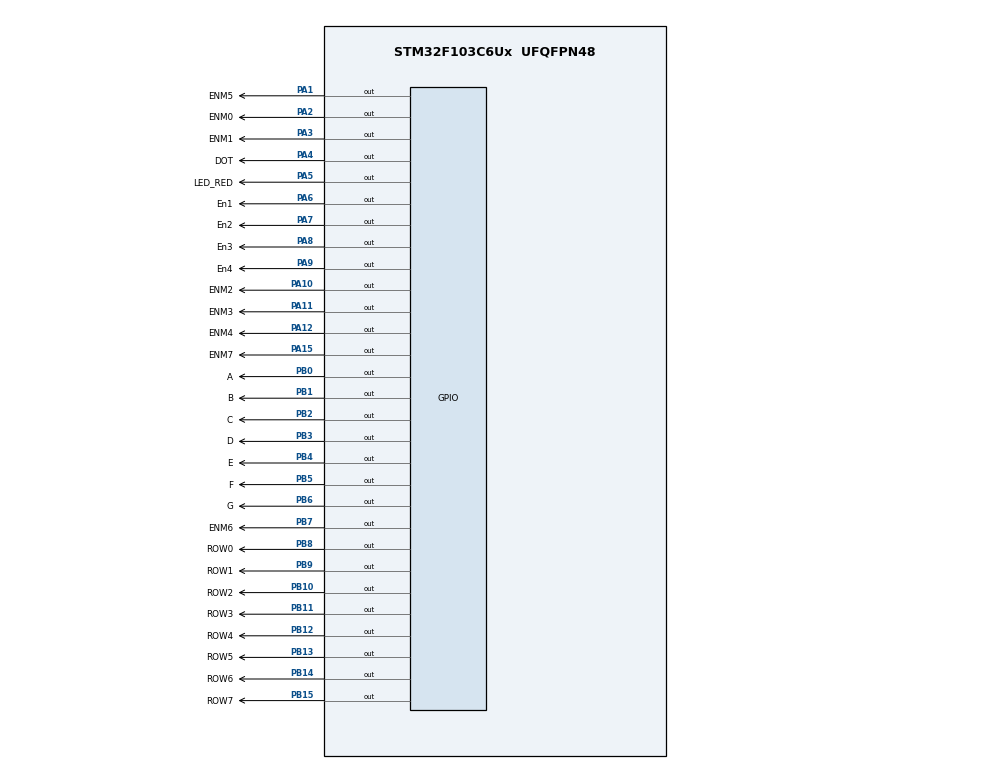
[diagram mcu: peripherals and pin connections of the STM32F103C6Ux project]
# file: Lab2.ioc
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Mcu.Family=STM32F1
Mcu.Name=STM32F103C6Ux
Mcu.Package=UFQFPN48
NVIC.PriorityGroup=NVIC_PRIORITYGROUP_4
NVIC.TIM2_IRQn=true\:0\:0\:false\:false\:true\:true\:true
PA1.GPIO_Label=ENM5
PA1.Signal=GPIO_Output
PA10.GPIO_Label=ENM2
PA10.Signal=GPIO_Output
PA11.GPIO_Label=ENM3
PA11.Signal=GPIO_Output
PA12.GPIO_Label=ENM4
PA12.Signal=GPIO_Output
PA13.Mode=Serial_Wire
PA13.Signal=SYS_JTMS-SWDIO
PA14.Mode=Serial_Wire
PA14.Signal=SYS_JTCK-SWCLK
PA15.GPIO_Label=ENM7
PA15.Signal=GPIO_Output
PA2.GPIO_Label=ENM0
PA2.Signal=GPIO_Output
PA3.GPIO_Label=ENM1
PA3.Signal=GPIO_Output
PA4.GPIO_Label=DOT
PA4.Signal=GPIO_Output
PA5.GPIO_Label=LED_RED
PA5.Signal=GPIO_Output
PA6.GPIO_Label=En1
PA6.Signal=GPIO_Output
PA7.GPIO_Label=En2
PA7.Signal=GPIO_Output
PA8.GPIO_Label=En3
PA8.Signal=GPIO_Output
PA9.GPIO_Label=En4
PA9.Signal=GPIO_Output
PB0.GPIO_Label=A
PB0.Signal=GPIO_Output
PB1.GPIO_Label=B
PB1.Signal=GPIO_Output
PB10.GPIO_Label=ROW2
PB10.Signal=GPIO_Output
PB11.GPIO_Label=ROW3
PB11.Signal=GPIO_Output
PB12.GPIO_Label=ROW4
PB12.Signal=GPIO_Output
PB13.GPIO_Label=ROW5
PB13.Signal=GPIO_Output
PB14.GPIO_Label=ROW6
PB14.Signal=GPIO_Output
PB15.GPIO_Label=ROW7
PB15.Signal=GPIO_Output
PB2.GPIO_Label=C
PB2.Signal=GPIO_Output
PB3.GPIO_Label=D
PB3.Signal=GPIO_Output
PB4.GPIO_Label=E
PB4.Signal=GPIO_Output
PB5.GPIO_Label=F
PB5.Signal=GPIO_Output
PB6.GPIO_Label=G
PB6.Signal=GPIO_Output
PB7.GPIO_Label=ENM6
PB7.Signal=GPIO_Output
PB8.GPIO_Label=ROW0
PB8.Signal=GPIO_Output
PB9.GPIO_Label=ROW1
PB9.Signal=GPIO_Output
ProjectManager.HeapSize=0x200
ProjectManager.StackSize=0x400
ProjectManager.TargetToolchain=STM32CubeIDE
RCC.APB1Freq_Value=8000000
RCC.APB2Freq_Value=8000000
TIM2.Period=9
TIM2.Prescaler=7999
VP_TIM2_VS_ClockSourceINT.Mode=Internal
board=custom

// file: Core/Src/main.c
/* USER CODE BEGIN Header */
/**
  ******************************************************************************
  * @file           : main.c
  * @brief          : Main program body
  ******************************************************************************
  * @attention
  *
  * <h2><center>&copy; Copyright (c) 2024 STMicroelectronics.
  * All rights reserved.</center></h2>
  *
  * This software component is licensed by ST under BSD 3-Clause license,
  * the "License"; You may not use this file except in compliance with the
  * License. You may obtain a copy of the License at:
  *                        opensource.org/licenses/BSD-3-Clause
  *
  ******************************************************************************
  */
/* USER CODE END Header */
#include "main.h"

/* USER CODE BEGIN Includes */
#include "SystemTimer.h"
/* USER CODE END Includes */

TIM_HandleTypeDef htim2;

void SystemClock_Config(void);
static void MX_TIM2_Init(void);
static void MX_GPIO_Init(void);

/* USER CODE BEGIN 0 */
void display7SEG(int num){
	HAL_GPIO_WritePin(GPIOB, A_Pin | B_Pin | C_Pin | D_Pin | E_Pin | F_Pin | G_Pin, GPIO_PIN_SET);

	switch (num) {
		case 0:
			HAL_GPIO_WritePin(GPIOB, A_Pin | B_Pin | C_Pin | D_Pin | E_Pin | F_Pin, GPIO_PIN_RESET);
			break;
		case 1:
			HAL_GPIO_WritePin(GPIOB, B_Pin | C_Pin, GPIO_PIN_RESET);
			break;
		case 2:
			HAL_GPIO_WritePin(GPIOB, A_Pin | B_Pin | D_Pin | E_Pin | G_Pin, GPIO_PIN_RESET);
			break;
		case 3:
			HAL_GPIO_WritePin(GPIOB, A_Pin | B_Pin | C_Pin | D_Pin | G_Pin, GPIO_PIN_RESET);
			break;
		case 4:
			HAL_GPIO_WritePin(GPIOB, B_Pin | C_Pin |F_Pin | G_Pin, GPIO_PIN_RESET);
			break;
		case 5:
			HAL_GPIO_WritePin(GPIOB, A_Pin | C_Pin | D_Pin | F_Pin | G_Pin, GPIO_PIN_RESET);
			break;
		case 6:
			HAL_GPIO_WritePin(GPIOB, A_Pin | C_Pin | D_Pin | E_Pin | F_Pin | G_Pin, GPIO_PIN_RESET);
			break;
		case 7:
			HAL_GPIO_WritePin(GPIOB, A_Pin | B_Pin | C_Pin, GPIO_PIN_RESET);
			break;
		case 8:
			HAL_GPIO_WritePin(GPIOB, A_Pin | B_Pin | C_Pin | D_Pin | E_Pin | F_Pin | G_Pin, GPIO_PIN_RESET);
			break;
		default:
			HAL_GPIO_WritePin(GPIOB, A_Pin | B_Pin | C_Pin | D_Pin | F_Pin | G_Pin, GPIO_PIN_RESET);
			break;
	}
}
const int MAX_LED = 4;
int index_led = 0;
int led_buffer[4] = {1, 5, 0, 8};
int hour = 15, minute = 8, second = 50;
void update7SEG(int index){
	HAL_GPIO_WritePin(GPIOA, En1_Pin | En2_Pin | En3_Pin | En4_Pin, 1);
	switch (index) {
		case 0:
			HAL_GPIO_WritePin(GPIOA, En1_Pin, 0);
			display7SEG(led_buffer[index]);
			break;
		case 1:
			HAL_GPIO_WritePin(GPIOA, En2_Pin, 0);
			display7SEG(led_buffer[index]);
			break;
		case 2:
			HAL_GPIO_WritePin(GPIOA, En3_Pin, 0);
			display7SEG(led_buffer[index]);
			break;
		case 3:
			HAL_GPIO_WritePin(GPIOA, En4_Pin, 0);
			display7SEG(led_buffer[index]);
			break;
		default:
			break;
	}
	if (index_led >= MAX_LED) index_led = 0;
}

void updateClockBuffer(){
	if (hour >= 10){
		led_buffer[0] = hour/10;
	} else {
		led_buffer[0] = 0;
	}
	led_buffer[1] = hour%10;
	if (minute >= 10){
		led_buffer[2] = minute/10;
	} else {
		led_buffer[2] = 0;
	}
	led_buffer[3] = minute%10;
}

const int MAX_LED_MATRIX = 8;
int index_led_matrix = 0;
uint8_t matrix_buffer[8] = {0x18, 0x3c, 0x66, 0x66, 0x7e, 0x7e, 0x66, 0x66};
void updateLEDMatrix (int index){
	HAL_GPIO_WritePin(GPIOB, ENM6_Pin, 1);
	HAL_GPIO_WritePin(GPIOA, ENM0_Pin | ENM1_Pin | ENM2_Pin | ENM3_Pin |
			 	 	 	 	 ENM4_Pin | ENM5_Pin | ENM7_Pin, 1);
	HAL_GPIO_WritePin(GPIOB, ROW0_Pin | ROW1_Pin | ROW2_Pin | ROW3_Pin |
					ROW4_Pin | ROW5_Pin | ROW6_Pin | ROW7_Pin, 1);
	switch (index) {
		case 0:
			HAL_GPIO_WritePin(GPIOA, ENM0_Pin, 0);
			break;
		case 1:
			HAL_GPIO_WritePin(GPIOA, ENM1_Pin, 0);
			break;
		case 2:
			HAL_GPIO_WritePin(GPIOA, ENM2_Pin, 0);
			break;
		case 3:
			HAL_GPIO_WritePin(GPIOA, ENM3_Pin, 0);
			break;
		case 4:
			HAL_GPIO_WritePin(GPIOA, ENM4_Pin, 0);
			break;
		case 5:
			HAL_GPIO_WritePin(GPIOA, ENM5_Pin, 0);
			break;
		case 6:
			HAL_GPIO_WritePin(GPIOB, ENM6_Pin, 0);
			break;
		case 7:
			HAL_GPIO_WritePin(GPIOA, ENM7_Pin, 0);
			break;
		default:
			break;
	}
	HAL_GPIO_WritePin(GPIOB, ROW0_Pin, (matrix_buffer[0] & (1 << (7-index))) ? 0 : 1);
	HAL_GPIO_WritePin(GPIOB, ROW1_Pin, (matrix_buffer[1] & (1 << (7-index))) ? 0 : 1);
	HAL_GPIO_WritePin(GPIOB, ROW2_Pin, (matrix_buffer[2] & (1 << (7-index))) ? 0 : 1);
	HAL_GPIO_WritePin(GPIOB, ROW3_Pin, (matrix_buffer[3] & (1 << (7-index))) ? 0 : 1);
	HAL_GPIO_WritePin(GPIOB, ROW4_Pin, (matrix_buffer[4] & (1 << (7-index))) ? 0 : 1);
	HAL_GPIO_WritePin(GPIOB, ROW5_Pin, (matrix_buffer[5] & (1 << (7-index))) ? 0 : 1);
	HAL_GPIO_WritePin(GPIOB, ROW6_Pin, (matrix_buffer[6] & (1 << (7-index))) ? 0 : 1);
	HAL_GPIO_WritePin(GPIOB, ROW7_Pin, (matrix_buffer[7] & (1 << (7-index))) ? 0 : 1);
	if (index_led_matrix >= MAX_LED_MATRIX) index_led_matrix = 0;
}
/* USER CODE END 0 */

int main(void)
{

  /* MCU Configuration--------------------------------------------------------*/

  /* Reset of all peripherals, Initializes the Flash interface and the Systick. */
  HAL_Init();

  /* Configure the system clock */
  SystemClock_Config();

  /* Initialize all configured peripherals */
  MX_TIM2_Init();
  MX_GPIO_Init();
  /* USER CODE BEGIN 2 */
HAL_TIM_Base_Start_IT(&htim2);
  /* USER CODE END 2 */

  /* Infinite loop */
  /* USER CODE BEGIN WHILE */
initTimer();
setTimer(1, 77);
setTimer(2, 55);
setTimer(3, 66);
  while (1)
  {
	  if (isTimerFlagOn(1) == 1){
		  setTimer(1, 100);
		  HAL_GPIO_TogglePin(GPIOA, DOT_Pin);
	  }
	  if (isTimerFlagOn(2) == 1){
		  setTimer(2, 25);
		  second++;
		  if (second >= 60){
			  second = 0;
			  minute++;
		  }
		  if (minute >= 60){
			  minute = 0;
			  hour++;
		  }
		  if (hour >= 24){
			  hour = 0;
		  }
		  updateClockBuffer();
		  update7SEG(index_led++);
	  }
	  if (isTimerFlagOn(3) == 1){
		  setTimer(3, 1);
		  updateLEDMatrix(index_led_matrix++);
	  }

    /* USER CODE END WHILE */

  }
}

void SystemClock_Config(void)
{
  RCC_OscInitTypeDef RCC_OscInitStruct = {0};
  RCC_ClkInitTypeDef RCC_ClkInitStruct = {0};

  /** Initializes the RCC Oscillators according to the specified parameters
  * in the RCC_OscInitTypeDef structure.
  */
  RCC_OscInitStruct.OscillatorType = RCC_OSCILLATORTYPE_HSI;
  RCC_OscInitStruct.HSIState = RCC_HSI_ON;
  RCC_OscInitStruct.HSICalibrationValue = RCC_HSICALIBRATION_DEFAULT;
  RCC_OscInitStruct.PLL.PLLState = RCC_PLL_NONE;
  if (HAL_RCC_OscConfig(&RCC_OscInitStruct) != HAL_OK)
  {
    Error_Handler();
  }
  /** Initializes the CPU, AHB and APB buses clocks
  */
  RCC_ClkInitStruct.ClockType = RCC_CLOCKTYPE_HCLK|RCC_CLOCKTYPE_SYSCLK
                              |RCC_CLOCKTYPE_PCLK1|RCC_CLOCKTYPE_PCLK2;
  RCC_ClkInitStruct.SYSCLKSource = RCC_SYSCLKSOURCE_HSI;
  RCC_ClkInitStruct.AHBCLKDivider = RCC_SYSCLK_DIV1;
  RCC_ClkInitStruct.APB1CLKDivider = RCC_HCLK_DIV1;
  RCC_ClkInitStruct.APB2CLKDivider = RCC_HCLK_DIV1;

  if (HAL_RCC_ClockConfig(&RCC_ClkInitStruct, FLASH_LATENCY_0) != HAL_OK)
  {
    Error_Handler();
  }
}

static void MX_TIM2_Init(void)
{

  TIM_ClockConfigTypeDef sClockSourceConfig = {0};
  TIM_MasterConfigTypeDef sMasterConfig = {0};

  htim2.Instance = TIM2;
  htim2.Init.Prescaler = 7999;
  htim2.Init.CounterMode = TIM_COUNTERMODE_UP;
  htim2.Init.Period = 9;
  htim2.Init.ClockDivision = TIM_CLOCKDIVISION_DIV1;
  htim2.Init.AutoReloadPreload = TIM_AUTORELOAD_PRELOAD_DISABLE;
  if (HAL_TIM_Base_Init(&htim2) != HAL_OK)
  {
    Error_Handler();
  }
  sClockSourceConfig.ClockSource = TIM_CLOCKSOURCE_INTERNAL;
  if (HAL_TIM_ConfigClockSource(&htim2, &sClockSourceConfig) != HAL_OK)
  {
    Error_Handler();
  }
  sMasterConfig.MasterOutputTrigger = TIM_TRGO_RESET;
  sMasterConfig.MasterSlaveMode = TIM_MASTERSLAVEMODE_DISABLE;
  if (HAL_TIMEx_MasterConfigSynchronization(&htim2, &sMasterConfig) != HAL_OK)
  {
    Error_Handler();
  }

}

static void MX_GPIO_Init(void)
{
  GPIO_InitTypeDef GPIO_InitStruct = {0};

  /* GPIO Ports Clock Enable */
  __HAL_RCC_GPIOA_CLK_ENABLE();
  __HAL_RCC_GPIOB_CLK_ENABLE();

  /*Configure GPIO pin Output Level */
  HAL_GPIO_WritePin(GPIOA, ENM5_Pin|ENM0_Pin|ENM1_Pin|DOT_Pin
                          |LED_RED_Pin|En1_Pin|En2_Pin|En3_Pin
                          |En4_Pin|ENM2_Pin|ENM3_Pin|ENM4_Pin
                          |ENM7_Pin, GPIO_PIN_RESET);

  /*Configure GPIO pin Output Level */
  HAL_GPIO_WritePin(GPIOB, A_Pin|B_Pin|C_Pin|ROW2_Pin
                          |ROW3_Pin|ROW4_Pin|ROW5_Pin|ROW6_Pin
                          |ROW7_Pin|D_Pin|E_Pin|F_Pin
                          |G_Pin|ENM6_Pin|ROW0_Pin|ROW1_Pin, GPIO_PIN_RESET);

  /*Configure GPIO pins : ENM5_Pin ENM0_Pin ENM1_Pin DOT_Pin
                           LED_RED_Pin En1_Pin En2_Pin En3_Pin
                           En4_Pin ENM2_Pin ENM3_Pin ENM4_Pin
                           ENM7_Pin */
  GPIO_InitStruct.Pin = ENM5_Pin|ENM0_Pin|ENM1_Pin|DOT_Pin
                          |LED_RED_Pin|En1_Pin|En2_Pin|En3_Pin
                          |En4_Pin|ENM2_Pin|ENM3_Pin|ENM4_Pin
                          |ENM7_Pin;
  GPIO_InitStruct.Mode = GPIO_MODE_OUTPUT_PP;
  GPIO_InitStruct.Pull = GPIO_NOPULL;
  GPIO_InitStruct.Speed = GPIO_SPEED_FREQ_LOW;
  HAL_GPIO_Init(GPIOA, &GPIO_InitStruct);

  /*Configure GPIO pins : A_Pin B_Pin C_Pin ROW2_Pin
                           ROW3_Pin ROW4_Pin ROW5_Pin ROW6_Pin
                           ROW7_Pin D_Pin E_Pin F_Pin
                           G_Pin ENM6_Pin ROW0_Pin ROW1_Pin */
  GPIO_InitStruct.Pin = A_Pin|B_Pin|C_Pin|ROW2_Pin
                          |ROW3_Pin|ROW4_Pin|ROW5_Pin|ROW6_Pin
                          |ROW7_Pin|D_Pin|E_Pin|F_Pin
                          |G_Pin|ENM6_Pin|ROW0_Pin|ROW1_Pin;
  GPIO_InitStruct.Mode = GPIO_MODE_OUTPUT_PP;
  GPIO_InitStruct.Pull = GPIO_NOPULL;
  GPIO_InitStruct.Speed = GPIO_SPEED_FREQ_LOW;
  HAL_GPIO_Init(GPIOB, &GPIO_InitStruct);

}

/* USER CODE BEGIN 4 */
void HAL_TIM_PeriodElapsedCallback(TIM_HandleTypeDef *htim){
	timerRun();
 }
/* USER CODE END 4 */

void Error_Handler(void)
{
  __disable_irq();
  while (1)
  {
  }
}

/************************ (C) COPYRIGHT STMicroelectronics *****END OF FILE****/
